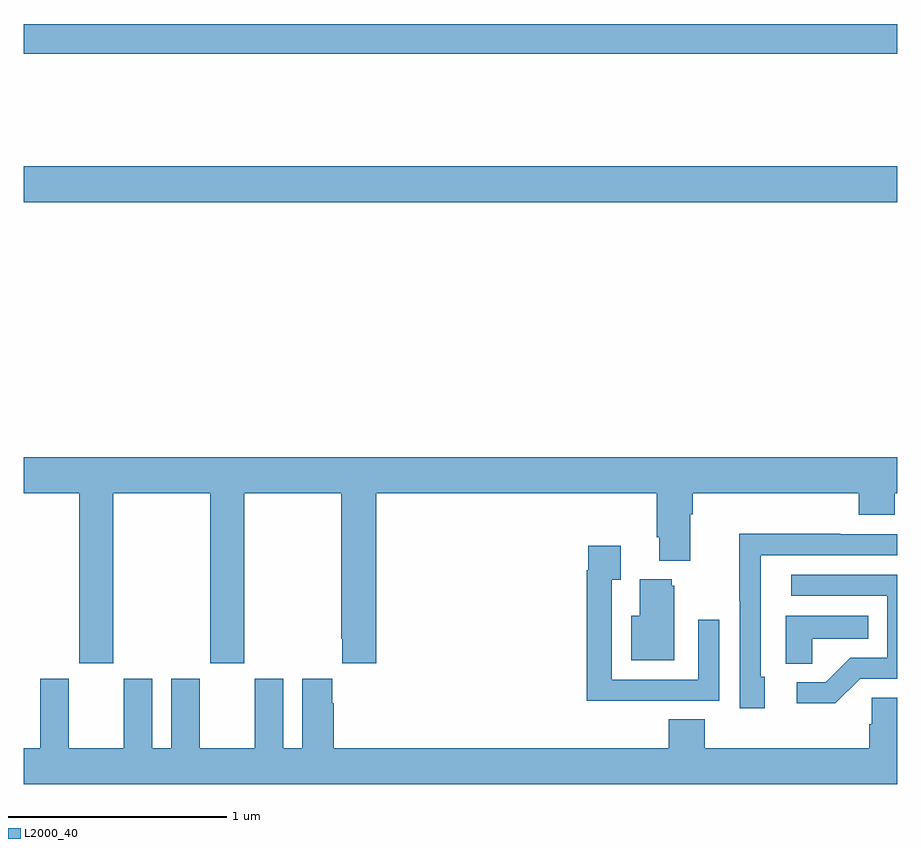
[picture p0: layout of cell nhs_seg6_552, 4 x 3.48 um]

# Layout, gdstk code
import gdstk
lib = gdstk.Library(unit=1e-6, precision=1e-09)
def R(c, l, rs):  # rectangles x0, y0, x1, y1
    for r in rs: c.add(gdstk.rectangle(r[:2], r[2:], *l))
def P(c, l, *ps):  # polygons
    for p in ps: c.add(gdstk.Polygon(p, *l))
L2000_40 = (2000, 40)

nhs_seg6_552 = lib.new_cell('nhs_seg6_552')
R(nhs_seg6_552, L2000_40, [(145,944.672,149,944.836), (145,945.352,149,945.488)])
P(nhs_seg6_552, L2000_40, [(145.41,943.34),(145.855,943.34),(145.855,942.561),(146.01,942.561),(146.01,943.34),(146.455,943.34),(146.455,942.673),(146.459,942.673),(146.459,942.561),(146.615,942.561),(146.615,943.34),(147.899,943.34),(147.899,943.138),(147.911,943.138),(147.911,943.031),(148.051,943.031),(148.051,943.244),(148.064,943.244),(148.064,943.34),(148.823,943.34),(148.823,943.241),(148.988,943.241),(148.988,943.34),(149,943.34),(149,943.504),(145,943.504),(145,943.34),(145.255,943.34),(145.255,942.561),(145.41,942.561)],
  [(148.393,942.498),(148.374,942.498),(148.374,943.056),(149,943.056),(149,943.152),(148.739,943.152),(148.739,943.154),(148.276,943.154),(148.276,942.847),(148.278,942.847),(148.278,942.354),(148.393,942.354)],
  [(147.869,942.39),(148.185,942.39),(148.185,942.76),(148.089,942.76),(148.089,942.486),(147.693,942.486),(147.693,942.943),(147.733,942.943),(147.733,943.099),(147.585,943.099),(147.585,942.986),(147.577,942.986),(147.577,942.389),(147.869,942.389)],
  [(148.83,942.489),(149,942.489),(149,942.966),(148.515,942.966),(148.515,942.87),(148.953,942.87),(148.953,942.585),(148.784,942.585),(148.673,942.474),(148.539,942.474),(148.539,942.377),(148.717,942.377)],
  [(147.979,942.915),(147.968,942.915),(147.968,942.946),(147.821,942.946),(147.821,942.778),(147.782,942.778),(147.782,942.575),(147.979,942.575)],
  [(148.611,942.674),(148.868,942.674),(148.868,942.778),(148.49,942.778),(148.49,942.559),(148.611,942.559)],
  [(149,942.404),(148.884,942.404),(148.884,942.281),(148.871,942.281),(148.871,942.172),(148.118,942.172),(148.118,942.305),(147.953,942.305),(147.953,942.172),(146.42,942.172),(146.42,942.377),(146.413,942.377),(146.413,942.49),(146.276,942.49),(146.276,942.172),(146.188,942.172),(146.188,942.49),(146.057,942.49),(146.057,942.172),(145.807,942.172),(145.807,942.49),(145.676,942.49),(145.676,942.172),(145.588,942.172),(145.588,942.49),(145.457,942.49),(145.457,942.172),(145.207,942.172),(145.207,942.49),(145.076,942.49),(145.076,942.172),(145,942.172),(145,942.008),(149,942.008)])

lib.write_gds('nhs_seg6_552.gds')
